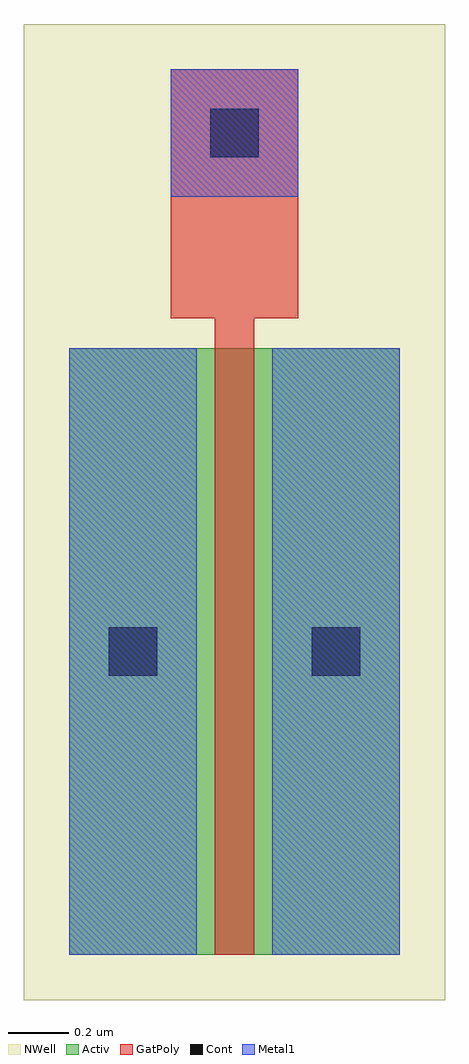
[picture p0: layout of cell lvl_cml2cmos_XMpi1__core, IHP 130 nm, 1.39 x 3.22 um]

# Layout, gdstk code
import gdstk
lib = gdstk.Library(unit=1e-6, precision=1e-09)
def R(c, l, rs):  # rectangles x0, y0, x1, y1
    for r in rs: c.add(gdstk.rectangle(r[:2], r[2:], *l))
Activ = (1, 0)
GatPoly = (5, 0)
Cont = (6, 0)
Metal1 = (8, 0)
NWell = (31, 0)

lvl_cml2cmos_xmpi1__core = lib.new_cell('lvl_cml2cmos_XMpi1__core')
R(lvl_cml2cmos_xmpi1__core, Activ, [(0,0,1.09,2)])
R(lvl_cml2cmos_xmpi1__core, GatPoly, [(0.48,0,0.61,2), (0.48,2,0.61,2.1), (0.335,2.1,0.755,2.92)])
R(lvl_cml2cmos_xmpi1__core, Cont, [(0.13,0.92,0.29,1.08), (0.8,0.92,0.96,1.08), (0.465,2.63,0.625,2.79)])
R(lvl_cml2cmos_xmpi1__core, Metal1, [(0,0,0.42,2), (0.67,0,1.09,2), (0.335,2.5,0.755,2.92)])
R(lvl_cml2cmos_xmpi1__core, NWell, [(-0.15,-0.15,1.24,3.07)])

lib.write_gds('lvl_cml2cmos_XMpi1__core.gds')
